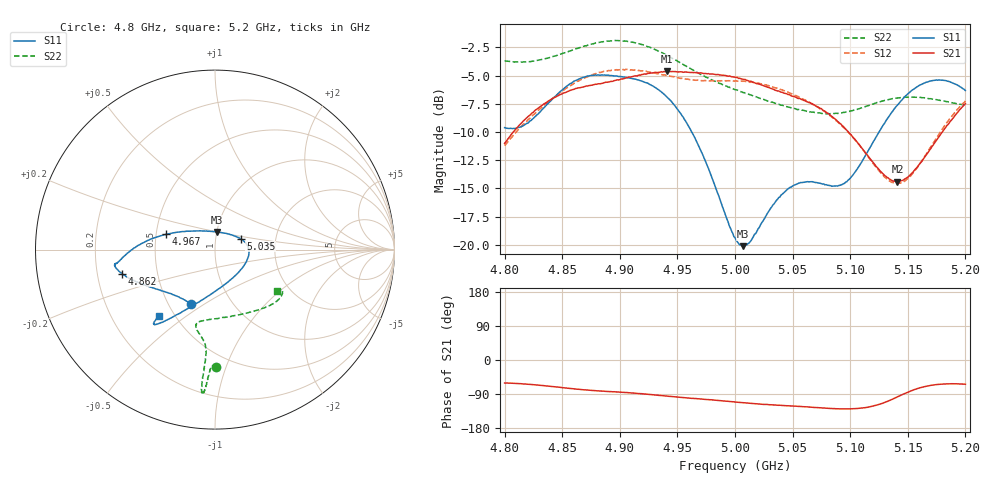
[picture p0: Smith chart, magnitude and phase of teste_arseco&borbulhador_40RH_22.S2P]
! Network Analyzer HP8722D
! Hewlett-Packard
! Data name: Linha & Wilkinson
! Saver's name: Rodrigo Anjos
! Comments: Teste da utilização de aquisição
! continua pelo VNA HP8722D
! Time and date: 15/4/2025 16:32
!  Frequency  S11  S21  S12  S22
# HZ  S  MA R 50
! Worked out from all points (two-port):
!   401 points, 4.8 GHz to 5.2 GHz, reference 50 ohm
!   highest |S21| = -4.63 dB at 4.941 GHz (marker M1); lowest = -14.4 dB at 5.141 GHz (marker M2)
!   |S21| within 3 dB of the highest: 4.832 GHz to 5.069 GHz (236.8 MHz wide, 4.78 % of centre); 5.198636 GHz to end of sweep
!   lowest |S11| = -20.1 dB at 5.007 GHz (marker M3), VSWR 1.22, Z = 50.1 + j9.92 ohm
!   |S11| at or under -10 dB: 4.962 GHz to 5.125 GHz (162.6 MHz wide, 3.22 % of centre)
!   |S22| runs from -8.4 to -1.9 dB; largest |S21 - S12| = 0.88
!   S11 on the Smith chart (normalised r, x): 4.8 GHz: 0.65, -0.44; 4.862 GHz: 0.31, -0.11; 4.967 GHz: 0.57, +0.10; 5.035 GHz: 1.32, +0.16; 5.2 GHz: 0.41, -0.40
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4.8e9  0.3307 -113.7  0.2815 -60.8  0.2752 -174.9  0.6536 -89.4
4.819e9  0.3447 -133.4  0.3647 -63.8  0.3518 -173.4  0.6487 -91.1
4.862e9  0.5355 -165.6  0.4936 -76.6  0.5273 -176.3  0.7399 -93.5
4.867e9  0.5498 -167.5  0.4993 -78.0  0.5413 -177.2  0.753 -93.6
4.899e9  0.5573 -172.0  0.538 -84.7  0.5968 176.0  0.8033 -95.0
4.934e9  0.485 -178.0  0.5819 -93.4  0.5739 172.0  0.7195 -95.5
4.941e9  0.4512 178.9  0.5869 -95.1  0.5628 171.9  0.6911 -95.4
4.955e9  0.3683 171.3  0.5817 -99.1  0.5453 172.7  0.6303 -95.0
4.967e9  0.2847 162.7  0.5787 -102.1  0.5363 174.1  0.5808 -94.9
5e9  0.1075 107.3  0.5535 -110.7  0.5326 176.4  0.4874 -99.3
5.007e9  0.09861 83.7  0.5418 -112.6  0.5306 176.5  0.4732 -101.1
5.014e9  0.1044 61.7  0.5307 -114.5  0.5272 176.3  0.4612 -102.5
5.035e9  0.1549 23.1  0.4842 -118.8  0.4962 175.2  0.4239 -103.8
5.05e9  0.1824 7.3  0.4555 -121.5  0.4644 174.5  0.4046 -100.5
5.067e9  0.1905 -11.0  0.4211 -124.7  0.4227 174.0  0.3871 -91.9
5.086e9  0.1821 -41.5  0.3648 -128.1  0.3617 173.9  0.3817 -77.7
5.097e9  0.1903 -64.6  0.3221 -129.2  0.3206 174.4  0.3885 -68.6
5.134e9  0.3731 -116.0  0.1957 -107.1  0.1921 -159.9  0.4413 -43.4
5.141e9  0.416 -119.9  0.1906 -97.1  0.1865 -149.0  0.4474 -40.2
5.153e9  0.4816 -124.8  0.2063 -81.0  0.2035 -130.1  0.4514 -35.9
5.17e9  0.533 -128.4  0.2672 -66.9  0.2719 -113.0  0.4443 -32.0
5.2e9  0.4828 -130.3  0.4227 -64.0  0.4343 -106.0  0.4152 -33.4
